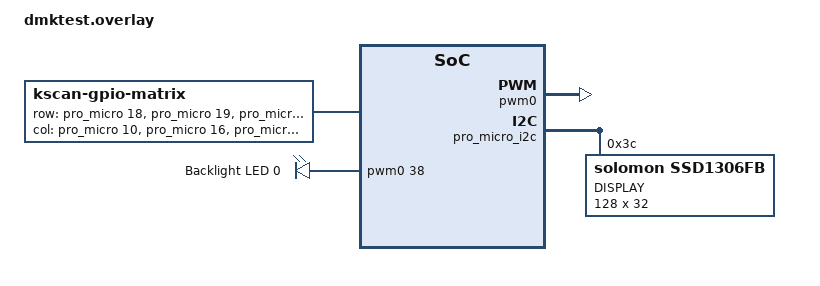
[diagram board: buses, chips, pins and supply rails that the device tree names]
#include <dt-bindings/zmk/matrix_transform.h>

&pwm0 {
    status = "okay";
    ch0-pin = <38>;
    /* ch0-inverted; */
};

/ {
    chosen {
        zmk,kscan = &kscan0;
        zmk,backlight = &backlight;
        zephyr,display = &oled;
    };

    kscan0: kscan {
        compatible = "zmk,kscan-gpio-matrix";
        label = "KSCAN";
        diode-direction = "col2row";

         row-gpios
            = <&pro_micro 18 (GPIO_ACTIVE_HIGH | GPIO_PULL_DOWN)>
            , <&pro_micro 19 (GPIO_ACTIVE_HIGH | GPIO_PULL_DOWN)>
            , <&pro_micro 20 (GPIO_ACTIVE_HIGH | GPIO_PULL_DOWN)>
            ;

        col-gpios
            = <&pro_micro 10 GPIO_ACTIVE_HIGH>
            , <&pro_micro 16 GPIO_ACTIVE_HIGH>
            , <&pro_micro 14 GPIO_ACTIVE_HIGH>
            , <&pro_micro 15 GPIO_ACTIVE_HIGH>
            ;
    };

    backlight: pwmleds {
        compatible = "pwm-leds";
        label = "Backlight LEDs";
        pwm_led_0 {
            pwms = <&pwm0 38>;
            label = "Backlight LED 0";
        };
    };
};

&pro_micro_i2c {
    status = "okay";

    oled: ssd1306@3c {
        compatible = "solomon,ssd1306fb";
        reg = <0x3c>;
        label = "DISPLAY";
        width = <128>;
        height = <32>;
        segment-offset = <0>;
        page-offset = <0>;
        display-offset = <0>;
        multiplex-ratio = <31>;
        segment-remap;
        com-invdir;
        com-sequential;
        prechargep = <0x22>;
    };
};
